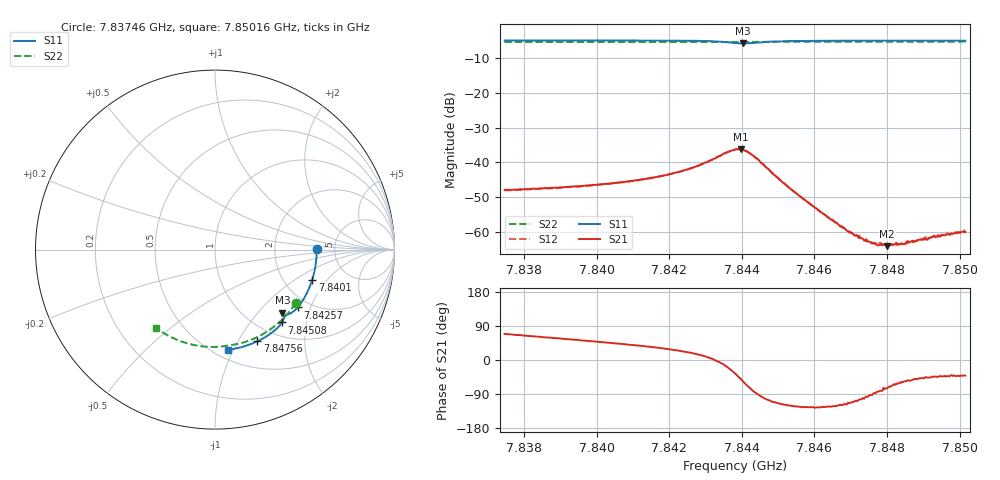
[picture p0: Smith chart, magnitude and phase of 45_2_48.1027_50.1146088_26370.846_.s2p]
#  HZ  S  RI  R  50.00
! Rohde & Schwarz Vector Network Analyzer
! Rohde-Schwarz,ZNB20-2Port,1311601062101988,3.16
! Created: UTC 12/23/2023, 3:39:11 AM
! freq[Hz]  re:S11  im:S11  re:S21  im:S21  re:S12  im:S12  re:S22  im:S22
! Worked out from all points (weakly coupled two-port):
!   401 points, 7.83746 GHz to 7.85016 GHz, reference 50 ohm
!   highest |S21| = -36.23 dB at 7.84397 GHz (marker M1); lowest = -64.1 dB at 7.848 GHz (marker M2)
!   lowest |S11| = -5.8 dB at 7.84403 GHz (marker M3), VSWR 3.11, Z = 71.7 - j68.3 ohm
!   |S11| at or under -10 dB: nowhere
!   |S22| runs from -5.4 to -5.3 dB; largest |S21 - S12| = 0.00032
!   S11 on the Smith chart (normalised r, x): 7.83746 GHz: 3.61, +0.04; 7.8401 GHz: 2.84, -1.42; 7.84257 GHz: 1.73, -1.63; 7.84508 GHz: 1.25, -1.46; 7.84756 GHz: 0.81, -1.21; 7.85016 GHz: 0.58, -0.95
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7.837464e9  0.5665 0.00405  0.00145 0.00374  0.00149 0.00367  0.45 -0.2982
7.839591e9  0.5504 -0.1366  0.00284 0.0036  0.00279 0.00354  0.3524 -0.41
7.840098e9  0.5412 -0.1694  0.00326 0.00355  0.00323 0.00349  0.3245 -0.4326
7.841717e9  0.4964 -0.2712  0.00532 0.00331  0.00529 0.0033  0.2274 -0.4914
7.842574e9  0.4604 -0.3222  0.00773 0.0027  0.00768 0.00273  0.1713 -0.5137
7.843812e9  0.3783 -0.3587  0.0124 -0.00893  0.0124 -0.00878  0.0876 -0.5321
7.843971e9  0.3748 -0.3527  0.01 -0.0118  0.00981 -0.0117  0.0776 -0.5333
7.844034e9  0.3754 -0.3508  0.00852 -0.0126  0.0084 -0.0126  0.0739 -0.534
7.844193e9  0.38 -0.3501  0.00433 -0.0131  0.00445 -0.0131  0.0637 -0.5359
7.844415e9  0.3863 -0.3597  0.000236 -0.0113  0.000203 -0.0113  0.049 -0.5383
7.845082e9  0.3735 -0.4058  -0.00236 -0.00485  -0.00236 -0.00489  0.00234 -0.5427
7.845939e9  0.3309 -0.4515  -0.00135 -0.00195  -0.00137 -0.00197  -0.0582 -0.5407
7.847018e9  0.2692 -0.4937  -0.000345 -0.000889  -0.000335 -0.000915  -0.1329 -0.5279
7.847335e9  0.2504 -0.5041  -0.00014 -0.000785  -0.000128 -0.000752  -0.1547 -0.5223
7.847557e9  0.2367 -0.5107  -1.93e-05 -0.000702  -3.61e-05 -0.000708  -0.1695 -0.5179
7.847684e9  0.2289 -0.5142  2.74e-05 -0.000689  2.45e-05 -0.000676  -0.178 -0.5151
7.848002e9  0.2093 -0.5227  0.000167 -0.000599  0.000141 -0.000613  -0.199 -0.5076
7.848065e9  0.2053 -0.5244  0.000221 -0.000598  0.000223 -0.000624  -0.2031 -0.5058
7.848319e9  0.1896 -0.5304  0.000324 -0.000585  0.000313 -0.000592  -0.2196 -0.4991
7.849049e9  0.1428 -0.5445  0.000537 -0.000553  0.000563 -0.000604  -0.2655 -0.4767
7.84924e9  0.1303 -0.5476  0.000595 -0.000596  0.000592 -0.00059  -0.2772 -0.4702
7.85016e9  0.0701 -0.5582  0.000743 -0.000652  0.000735 -0.000661  -0.3311 -0.4346
